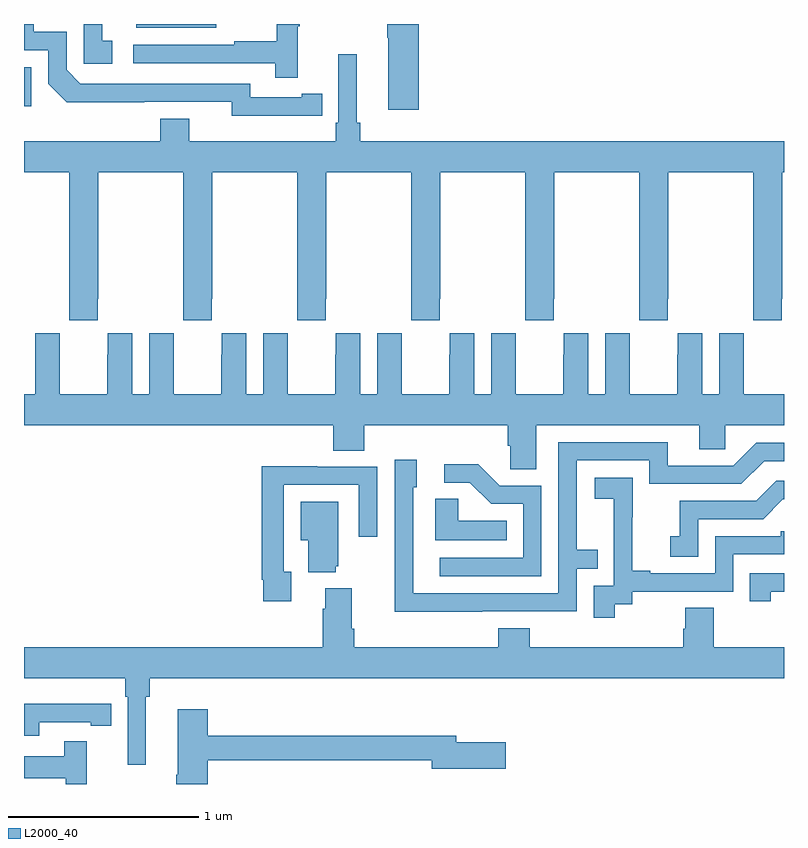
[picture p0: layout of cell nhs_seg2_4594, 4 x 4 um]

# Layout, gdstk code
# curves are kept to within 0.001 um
import gdstk
lib = gdstk.Library(unit=1e-6, precision=1e-09)
def R(c, l, rs):  # rectangles x0, y0, x1, y1
    for r in rs: c.add(gdstk.rectangle(r[:2], r[2:], *l))
def P(c, l, *ps):  # polygons
    for p in ps: c.add(gdstk.Polygon(p, *l))
L2000_40 = (2000, 40)

nhs_seg2_4594 = lib.new_cell('nhs_seg2_4594')
R(nhs_seg2_4594, L2000_40, [(361,597.366,361.038,597.573), (361.592,597.779,362.011,597.8)])
P(nhs_seg2_4594, L2000_40, [(363.077,597.8),(362.911,597.8),(362.911,597.727),(362.918,597.727),(362.918,597.348),(363.077,597.348)],
  [(362.441,597.787),(362.452,597.787),(362.452,597.8),(362.331,597.8),(362.331,597.71),(362.107,597.71),(362.107,597.69),(361.575,597.69),(361.575,597.594),(362.323,597.594),(362.323,597.516),(362.441,597.516)],
  [(361.465,597.711),(361.412,597.711),(361.412,597.8),(361.314,597.8),(361.314,597.591),(361.465,597.591)],
  [(362.462,597.318),(362.57,597.318),(362.57,597.434),(362.462,597.434),(362.462,597.414),(362.19,597.414),(362.19,597.486),(361.296,597.486),(361.224,597.558),(361.224,597.759),(361.051,597.759),(361.051,597.8),(361,597.8),(361,597.663),(361.128,597.663),(361.128,597.486),(361.226,597.389),(362.094,597.39),(362.094,597.317)],
  [(361.389,596.353),(361.392,596.353),(361.392,597.02),(361.837,597.02),(361.837,596.353),(361.839,596.353),(361.839,596.241),(361.989,596.241),(361.989,596.353),(361.992,596.353),(361.992,597.02),(362.437,597.02),(362.437,596.353),(362.439,596.353),(362.439,596.241),(362.589,596.241),(362.589,596.353),(362.592,596.353),(362.592,597.02),(363.037,597.02),(363.037,596.353),(363.039,596.353),(363.039,596.241),(363.189,596.241),(363.189,596.353),(363.192,596.353),(363.192,597.02),(363.637,597.02),(363.637,596.353),(363.639,596.353),(363.639,596.241),(363.789,596.241),(363.789,596.353),(363.792,596.353),(363.792,597.02),(364.237,597.02),(364.237,596.353),(364.239,596.353),(364.239,596.241),(364.389,596.241),(364.389,596.353),(364.392,596.353),(364.392,597.02),(364.837,597.02),(364.837,596.353),(364.839,596.353),(364.839,596.241),(364.989,596.241),(364.989,596.353),(364.992,596.353),(364.992,597.02),(365,597.02),(365,597.184),(362.771,597.184),(362.771,597.28),(362.752,597.28),(362.752,597.64),(362.655,597.64),(362.655,597.28),(362.642,597.28),(362.642,597.184),(361.87,597.184),(361.87,597.301),(361.718,597.301),(361.718,597.184),(361,597.184),(361,597.02),(361.237,597.02),(361.237,596.353),(361.239,596.353),(361.239,596.241),(361.389,596.241)],
  [(362.627,595.555),(362.792,595.555),(362.792,595.688),(363.545,595.688),(363.545,595.579),(363.558,595.579),(363.558,595.456),(363.697,595.456),(363.697,595.688),(364.553,595.688),(364.553,595.561),(364.692,595.561),(364.692,595.688),(365,595.688),(365,595.852),(364.789,595.852),(364.789,596.06),(364.788,596.06),(364.788,596.173),(364.658,596.173),(364.658,595.852),(364.57,595.852),(364.57,596.173),(364.44,596.173),(364.44,596.06),(364.439,596.06),(364.439,595.852),(364.189,595.852),(364.189,596.06),(364.188,596.06),(364.188,596.173),(364.058,596.173),(364.058,595.852),(363.97,595.852),(363.97,596.173),(363.84,596.173),(363.84,596.06),(363.839,596.06),(363.839,595.852),(363.589,595.852),(363.589,596.06),(363.588,596.06),(363.588,596.173),(363.458,596.173),(363.458,595.852),(363.37,595.852),(363.37,596.173),(363.24,596.173),(363.24,596.06),(363.239,596.06),(363.239,595.852),(362.989,595.852),(362.989,596.06),(362.988,596.06),(362.988,596.173),(362.858,596.173),(362.858,595.852),(362.77,595.852),(362.77,596.173),(362.64,596.173),(362.64,596.06),(362.639,596.06),(362.639,595.852),(362.389,595.852),(362.389,596.06),(362.388,596.06),(362.388,596.173),(362.258,596.173),(362.258,595.852),(362.17,595.852),(362.17,596.173),(362.04,596.173),(362.04,596.06),(362.039,596.06),(362.039,595.852),(361.789,595.852),(361.789,596.06),(361.788,596.06),(361.788,596.173),(361.658,596.173),(361.658,595.852),(361.57,595.852),(361.57,596.173),(361.44,596.173),(361.44,596.06),(361.439,596.06),(361.439,595.852),(361.189,595.852),(361.189,596.06),(361.188,596.06),(361.188,596.173),(361.058,596.173),(361.058,595.852),(361,595.852),(361,595.688),(362.627,595.688)],
  [(363.413,594.708),(363.909,594.708),(363.909,594.933),(364.019,594.933),(364.019,595.034),(363.909,595.034),(363.909,595.503),(364.29,595.503),(364.29,595.38),(364.776,595.38),(364.896,595.5),(365,595.5),(365,595.596),(364.854,595.596),(364.734,595.476),(364.387,595.476),(364.387,595.599),(363.813,595.599),(363.813,594.804),(363.048,594.804),(363.048,595.362),(363.067,595.362),(363.067,595.507),(362.952,595.507),(362.952,595.013),(362.95,595.013),(362.95,594.707)],
  [(363.723,595.371),(363.504,595.371),(363.391,595.484),(363.213,595.484),(363.213,595.386),(363.347,595.386),(363.458,595.275),(363.627,595.275),(363.627,594.99),(363.189,594.99),(363.189,594.894),(363.723,594.894)],
  [(362.407,594.918),(362.367,594.918),(362.367,595.374),(362.763,595.374),(362.763,595.101),(362.859,595.101),(362.859,595.47),(362.543,595.47),(362.543,595.472),(362.251,595.472),(362.251,594.874),(362.259,594.874),(362.259,594.762),(362.407,594.762)],
  [(364.108,594.745),(364.2,594.745),(364.2,594.813),(364.734,594.813),(364.734,595.008),(365,595.008),(365,595.131),(364.983,595.131),(364.983,595.104),(364.638,595.104),(364.638,594.909),(364.297,594.909),(364.297,594.922),(364.202,594.922),(364.202,595.205),(364.203,595.205),(364.203,595.411),(364.005,595.411),(364.005,595.301),(364.103,595.301),(364.103,595.073),(364.104,595.073),(364.104,594.843),(363.999,594.843),(363.999,594.675),(364.108,594.675)],
  [(364.548,595.194),(364.89,595.194),(364.994,595.298),(365,595.298),(365,595.395),(364.958,595.395),(364.853,595.29),(364.45,595.29),(364.45,595.105),(364.401,595.105),(364.401,594.996),(364.548,594.996)],
  [(363.542,595.186),(363.285,595.186),(363.285,595.301),(363.164,595.301),(363.164,595.082),(363.542,595.082)],
  [(362.642,594.945),(362.653,594.945),(362.653,595.285),(362.456,595.285),(362.456,595.082),(362.495,595.082),(362.495,594.914),(362.642,594.914)],
  [(364.93,594.813),(365,594.813),(365,594.909),(364.819,594.909),(364.819,594.762),(364.93,594.762)],
  [(361,594.356),(361.532,594.356),(361.532,594.26),(361.545,594.26),(361.545,593.901),(361.642,593.901),(361.642,594.26),(361.661,594.26),(361.661,594.356),(365,594.356),(365,594.52),(364.629,594.52),(364.629,594.728),(364.481,594.728),(364.481,594.618),(364.469,594.618),(364.469,594.52),(363.662,594.52),(363.662,594.619),(363.497,594.619),(363.497,594.52),(362.738,594.52),(362.738,594.616),(362.725,594.616),(362.725,594.829),(362.585,594.829),(362.585,594.722),(362.573,594.722),(362.573,594.52),(361,594.52)],
  [(361.08,594.126),(361.352,594.126),(361.352,594.106),(361.46,594.106),(361.46,594.222),(361.352,594.222),(361.352,594.223),(361,594.223),(361,594.054),(361.08,594.054)],
  [(361.967,593.926),(363.146,593.926),(363.146,593.879),(363.535,593.879),(363.535,594.021),(363.274,594.021),(363.274,594.055),(361.967,594.055),(361.967,594.193),(361.808,594.193),(361.808,593.849),(361.801,593.849),(361.801,593.8),(361.967,593.8)],
  [(361.331,594.025),(361.213,594.025),(361.213,593.946),(361,593.946),(361,593.83),(361.221,593.83),(361.221,593.8),(361.331,593.8)])

lib.write_gds('nhs_seg2_4594.gds')
